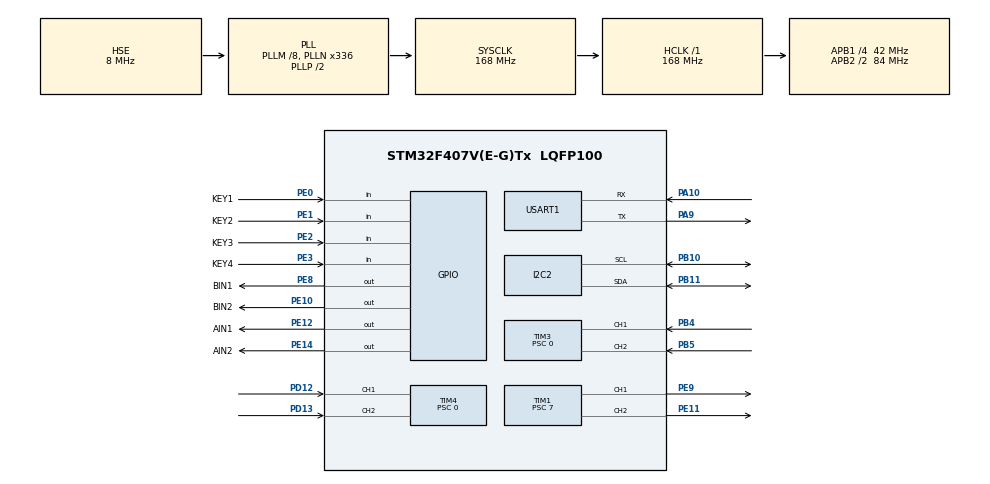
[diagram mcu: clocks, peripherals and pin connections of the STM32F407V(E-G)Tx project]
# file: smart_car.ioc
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Dma.Request0=USART1_RX
Dma.Request1=USART1_TX
Dma.USART1_RX.0.Direction=DMA_PERIPH_TO_MEMORY
Dma.USART1_RX.0.FIFOMode=DMA_FIFOMODE_DISABLE
Dma.USART1_RX.0.Instance=DMA2_Stream2
Dma.USART1_RX.0.MemDataAlignment=DMA_MDATAALIGN_BYTE
Dma.USART1_RX.0.MemInc=DMA_MINC_ENABLE
Dma.USART1_RX.0.Mode=DMA_CIRCULAR
Dma.USART1_RX.0.PeriphDataAlignment=DMA_PDATAALIGN_BYTE
Dma.USART1_RX.0.PeriphInc=DMA_PINC_DISABLE
Dma.USART1_RX.0.Priority=DMA_PRIORITY_LOW
Dma.USART1_TX.1.Direction=DMA_MEMORY_TO_PERIPH
Dma.USART1_TX.1.FIFOMode=DMA_FIFOMODE_DISABLE
Dma.USART1_TX.1.Instance=DMA2_Stream7
Dma.USART1_TX.1.MemDataAlignment=DMA_MDATAALIGN_BYTE
Dma.USART1_TX.1.MemInc=DMA_MINC_ENABLE
Dma.USART1_TX.1.Mode=DMA_NORMAL
Dma.USART1_TX.1.PeriphDataAlignment=DMA_PDATAALIGN_BYTE
Dma.USART1_TX.1.PeriphInc=DMA_PINC_DISABLE
Dma.USART1_TX.1.Priority=DMA_PRIORITY_LOW
Mcu.Family=STM32F4
Mcu.Name=STM32F407V(E-G)Tx
Mcu.Package=LQFP100
NVIC.DMA2_Stream2_IRQn=true\:0\:0\:false\:false\:true\:false\:true\:true
NVIC.DMA2_Stream7_IRQn=true\:0\:0\:false\:false\:true\:false\:true\:true
NVIC.PriorityGroup=NVIC_PRIORITYGROUP_4
NVIC.TIM3_IRQn=true\:0\:0\:false\:false\:true\:true\:true\:true
NVIC.TIM4_IRQn=true\:0\:0\:false\:false\:true\:true\:true\:true
NVIC.USART1_IRQn=true\:0\:0\:false\:false\:true\:true\:true\:true
PA10.Mode=Asynchronous
PA10.Signal=USART1_RX
PA13.Mode=Serial_Wire
PA13.Signal=SYS_JTMS-SWDIO
PA14.Mode=Serial_Wire
PA14.Signal=SYS_JTCK-SWCLK
PA9.Mode=Asynchronous
PA9.Signal=USART1_TX
PB10.Mode=I2C
PB10.Signal=I2C2_SCL
PB11.Mode=I2C
PB11.Signal=I2C2_SDA
PB4.Signal=S_TIM3_CH1
PB5.Signal=S_TIM3_CH2
PC14-OSC32_IN.Mode=LSE-External-Oscillator
PC14-OSC32_IN.Signal=RCC_OSC32_IN
PC15-OSC32_OUT.Mode=LSE-External-Oscillator
PC15-OSC32_OUT.Signal=RCC_OSC32_OUT
PD12.Signal=S_TIM4_CH1
PD13.Signal=S_TIM4_CH2
PE0.GPIO_Label=KEY1
PE0.GPIO_PuPd=GPIO_PULLUP
PE0.Signal=GPIO_Input
PE1.GPIO_Label=KEY2
PE1.GPIO_PuPd=GPIO_PULLUP
PE1.Signal=GPIO_Input
PE10.GPIO_Label=BIN2
PE10.Signal=GPIO_Output
PE11.Signal=S_TIM1_CH2
PE12.GPIO_Label=AIN1
PE12.Signal=GPIO_Output
PE14.GPIO_Label=AIN2
PE14.Signal=GPIO_Output
PE2.GPIO_Label=KEY3
PE2.GPIO_PuPd=GPIO_PULLUP
PE2.Signal=GPIO_Input
PE3.GPIO_Label=KEY4
PE3.GPIO_PuPd=GPIO_PULLUP
PE3.Signal=GPIO_Input
PE8.GPIO_Label=BIN1
PE8.Signal=GPIO_Output
PE9.Signal=S_TIM1_CH1
PH0-OSC_IN.Mode=HSE-External-Oscillator
PH0-OSC_IN.Signal=RCC_OSC_IN
PH1-OSC_OUT.Mode=HSE-External-Oscillator
PH1-OSC_OUT.Signal=RCC_OSC_OUT
ProjectManager.HeapSize=0x200
ProjectManager.StackSize=0x400
ProjectManager.TargetToolchain=CMake
RCC.48MHZClocksFreq_Value=84000000
RCC.AHBFreq_Value=168000000
RCC.APB1CLKDivider=RCC_HCLK_DIV4
RCC.APB1Freq_Value=42000000
RCC.APB1TimFreq_Value=84000000
RCC.APB2CLKDivider=RCC_HCLK_DIV2
RCC.APB2Freq_Value=84000000
RCC.APB2TimFreq_Value=168000000
RCC.CortexFreq_Value=168000000
RCC.HCLKFreq_Value=168000000
RCC.HSE_VALUE=8000000
RCC.HSI_VALUE=16000000
RCC.PLLM=8
RCC.PLLN=336
RCC.PLLSourceVirtual=RCC_PLLSOURCE_HSE
RCC.SYSCLKFreq_VALUE=168000000
RCC.SYSCLKSource=RCC_SYSCLKSOURCE_PLLCLK
RCC.VCOOutputFreq_Value=336000000
SH.S_TIM1_CH1.0=TIM1_CH1,PWM Generation1 CH1
SH.S_TIM1_CH2.0=TIM1_CH2,PWM Generation2 CH2
SH.S_TIM3_CH1.0=TIM3_CH1,Encoder_Interface
SH.S_TIM3_CH2.0=TIM3_CH2,Encoder_Interface
SH.S_TIM4_CH1.0=TIM4_CH1,Encoder_Interface
SH.S_TIM4_CH2.0=TIM4_CH2,Encoder_Interface
TIM1.AutoReloadPreload=TIM_AUTORELOAD_PRELOAD_ENABLE
TIM1.Channel-PWM\ Generation1\ CH1=TIM_CHANNEL_1
TIM1.Channel-PWM\ Generation2\ CH2=TIM_CHANNEL_2
TIM1.Period=1000
TIM1.Prescaler=7
TIM3.EncoderMode=TIM_ENCODERMODE_TI12
TIM3.IC1Filter=8
TIM3.IC2Filter=8
TIM3.Prescaler=0
TIM4.EncoderMode=TIM_ENCODERMODE_TI12
TIM4.IC1Filter=8
TIM4.IC2Filter=8
TIM4.Prescaler=0
USART1.VirtualMode=VM_ASYNC
VP_TIM1_VS_ClockSourceINT.Mode=Internal
board=custom

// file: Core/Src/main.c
/* USER CODE BEGIN Header */
/**
  ******************************************************************************
  * @file           : main.c
  * @brief          : Main program body
  ******************************************************************************
  * @attention
  *
  * Copyright (c) 2025 STMicroelectronics.
  * All rights reserved.
  *
  * This software is licensed under terms that can be found in the LICENSE file
  * in the root directory of this software component.
  * If no LICENSE file comes with this software, it is provided AS-IS.
  *
  ******************************************************************************
  */
/* USER CODE END Header */
#include "main.h"
#include "dma.h"
#include "i2c.h"
#include "tim.h"
#include "usart.h"
#include "gpio.h"

/* USER CODE BEGIN Includes */
#include <stdio.h>
#include "bsp_system.h"
/* USER CODE END Includes */

void SystemClock_Config(void);

int main(void)
{

  /* MCU Configuration--------------------------------------------------------*/

  /* Reset of all peripherals, Initializes the Flash interface and the Systick. */
  HAL_Init();

  /* Configure the system clock */
  SystemClock_Config();

  /* Initialize all configured peripherals */
  MX_GPIO_Init();
  MX_DMA_Init();
  MX_USART1_UART_Init();
  MX_I2C2_Init();
  MX_TIM1_Init();
  MX_TIM3_Init();
  MX_TIM4_Init();
  /* USER CODE BEGIN 2 */
  // printf("[SYS] System Start\r\n");

  OLED_Init();
  // printf("[OLED] Init Done\r\n");

  /* OLED 显示测试 */
  OLED_Clear();
  OLED_ShowString(1, 1, "Smart Car");
  OLED_ShowString(2, 1, "STM32F407");
  OLED_ShowString(3, 1, "Test:12345");
  OLED_ShowFloat(4, 1, 3.14, 1, 2);
  OLED_Flush();
  // printf("[OLED] Display Test Done\r\n");
  Uart_Init();
  Key_Init();
  // printf("[KEY] Init Done\r\n");

  Motor_Init();           // ← 添加
  // printf("[MOTOR] Init Done\r\n");
  Encoder_Init();         // ← 添加
  // printf("[ENCODER] Init Done\r\n");

  scheduler_init();
Uart_Printf(&huart1,"system init ok\r\n");
  /* USER CODE END 2 */

  /* Infinite loop */
  while (1)
  {

    /* USER CODE BEGIN 3 */
    scheduler_run();
    // HAL_Delay(10);
  }
  /* USER CODE END 3 */
}

void SystemClock_Config(void)
{
  RCC_OscInitTypeDef RCC_OscInitStruct = {0};
  RCC_ClkInitTypeDef RCC_ClkInitStruct = {0};

  /** Configure the main internal regulator output voltage
  */
  __HAL_RCC_PWR_CLK_ENABLE();
  __HAL_PWR_VOLTAGESCALING_CONFIG(PWR_REGULATOR_VOLTAGE_SCALE1);

  /** Initializes the RCC Oscillators according to the specified parameters
  * in the RCC_OscInitTypeDef structure.
  */
  RCC_OscInitStruct.OscillatorType = RCC_OSCILLATORTYPE_HSE;
  RCC_OscInitStruct.HSEState = RCC_HSE_ON;
  RCC_OscInitStruct.PLL.PLLState = RCC_PLL_ON;
  RCC_OscInitStruct.PLL.PLLSource = RCC_PLLSOURCE_HSE;
  RCC_OscInitStruct.PLL.PLLM = 8;
  RCC_OscInitStruct.PLL.PLLN = 336;
  RCC_OscInitStruct.PLL.PLLP = RCC_PLLP_DIV2;
  RCC_OscInitStruct.PLL.PLLQ = 4;
  if (HAL_RCC_OscConfig(&RCC_OscInitStruct) != HAL_OK)
  {
    Error_Handler();
  }

  /** Initializes the CPU, AHB and APB buses clocks
  */
  RCC_ClkInitStruct.ClockType = RCC_CLOCKTYPE_HCLK|RCC_CLOCKTYPE_SYSCLK
                              |RCC_CLOCKTYPE_PCLK1|RCC_CLOCKTYPE_PCLK2;
  RCC_ClkInitStruct.SYSCLKSource = RCC_SYSCLKSOURCE_PLLCLK;
  RCC_ClkInitStruct.AHBCLKDivider = RCC_SYSCLK_DIV1;
  RCC_ClkInitStruct.APB1CLKDivider = RCC_HCLK_DIV4;
  RCC_ClkInitStruct.APB2CLKDivider = RCC_HCLK_DIV2;

  if (HAL_RCC_ClockConfig(&RCC_ClkInitStruct, FLASH_LATENCY_5) != HAL_OK)
  {
    Error_Handler();
  }
}

/* USER CODE BEGIN 4 */
// typedef enum {
//       TEST_MOTOR_AUTO,     // 电机自动测试（正转-反转-停止循环）
//       TEST_MOTOR_MANUAL,   // 按键手动控制
//       TEST_ENCODER,        // 编码器速度显示
//       TEST_ALL             // 综合测试
//   } TestMode_t;
//
//   static TestMode_t test_mode = TEST_ALL;
//   static uint32_t test_step = 0;
//   static uint32_t last_test_tick = 0;
//
//   void Test_Function(void)
//   {
//       uint32_t now = HAL_GetTick();
//
//       // 每500ms切换测试步骤
//       if (now - last_test_tick >= 500) {
//           last_test_tick = now;
//           test_step++;
//
//           switch(test_step % 8) {
//               case 0:
//                   printf("[TEST] 左电机正转300\r\n");
//                   Motor_Set_Speed(&left_motor, 300);
//                   Motor_Set_Speed(&right_motor, 0);
//                   break;
//               case 1:
//                   printf("[TEST] 左电机反转-300\r\n");
//                   Motor_Set_Speed(&left_motor, -300);
//                   break;
//               case 2:
//                   printf("[TEST] 右电机正转300\r\n");
//                   Motor_Set_Speed(&left_motor, 0);
//                   Motor_Set_Speed(&right_motor, 300);
//                   break;
//               case 3:
//                   printf("[TEST] 右电机反转-300\r\n");
//                   Motor_Set_Speed(&right_motor, -300);
//                   break;
//               case 4:
//                   printf("[TEST] 双电机正转500\r\n");
//                   Motor_Set_Speed(&left_motor, 500);
//                   Motor_Set_Speed(&right_motor, 500);
//                   break;
//               case 5:
//                   printf("[TEST] 停止\r\n");
//                   Motor_Stop(&left_motor);
//                   Motor_Stop(&right_motor);
//                   break;
//               case 6:
//                   printf("[TEST] 刹车\r\n");
//                   Motor_Brake(&left_motor);
//                   Motor_Brake(&right_motor);
//                   break;
//               case 7:
//                   printf("[TEST] ========== 新循环 ==========\r\n");
//                   break;
//           }
//       }
//
//       // 实时打印编码器数据（每100ms）
//       static uint32_t last_print = 0;
//       if (now - last_print >= 100) {
//           last_print = now;
//
//           Encoder_Driver_Update(&left_encoder);
//           Encoder_Driver_Update(&right_encoder);
//
//           printf("[ENC] L:%d(%.1fcm/s)  R:%d(%.1fcm/s)\r\n",
//                  left_encoder.count, left_encoder.speed_cm_s,
//                  right_encoder.count, right_encoder.speed_cm_s);
//
//           // OLED显示
//           OLED_Clear();
//           OLED_ShowString(1, 1, "L:");
//           OLED_ShowSignedNum(1, 3, left_encoder.count, 5);
//           OLED_ShowString(2, 1, "R:");
//           OLED_ShowSignedNum(2, 3, right_encoder.count, 5);
//           OLED_ShowString(3, 1, "LS:");
//           OLED_ShowFloat(3, 4, left_encoder.speed_cm_s, 4, 1);
//           OLED_ShowString(4, 1, "RS:");
//           OLED_ShowFloat(4, 4, right_encoder.speed_cm_s, 4, 1);
//           OLED_Flush();
//       }
//   }
/* USER CODE END 4 */

void Error_Handler(void)
{
  __disable_irq();
  while (1)
  {
  }
}
